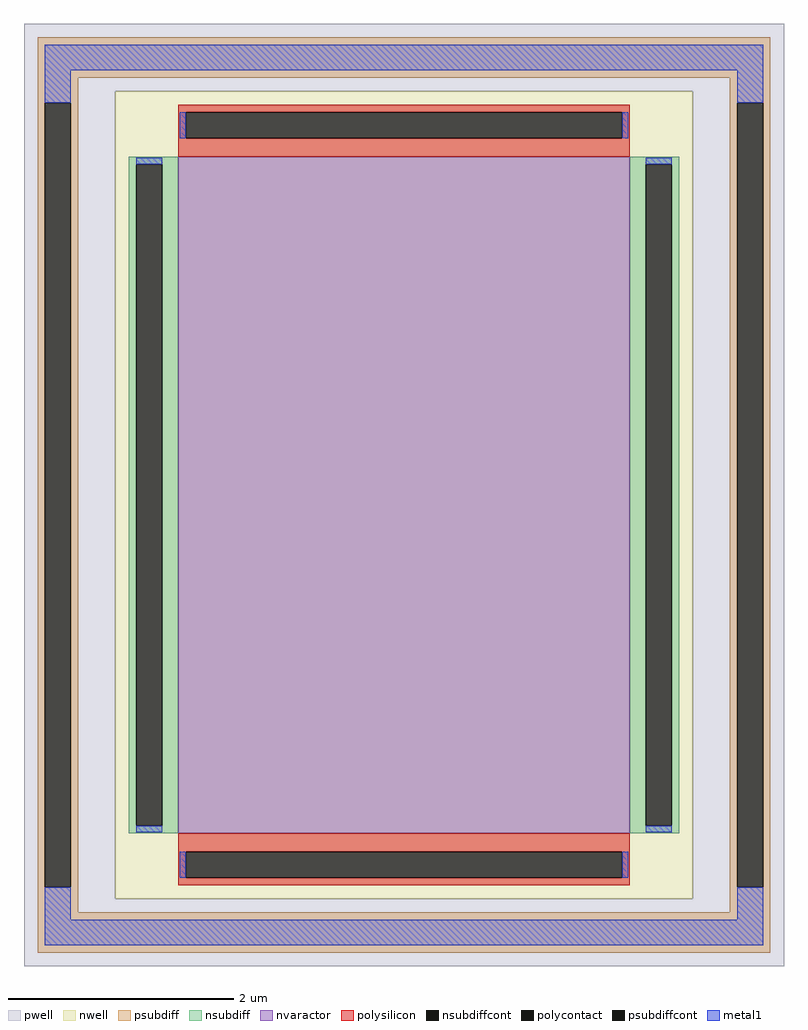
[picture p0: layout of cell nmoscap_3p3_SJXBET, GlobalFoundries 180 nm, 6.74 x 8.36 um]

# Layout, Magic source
magic
tech gf180mcuD
magscale 1 10
<< nwell >>
rect -512 -716 512 716
<< pwell >>
rect -674 716 674 836
rect -674 -716 -512 716
rect 512 -716 674 716
rect -674 -836 674 -716
<< psubdiff >>
rect -650 740 650 812
rect -650 696 -578 740
rect -650 -696 -637 696
rect -591 -696 -578 696
rect 578 696 650 740
rect -650 -740 -578 -696
rect 578 -696 591 696
rect 637 -696 650 696
rect 578 -740 650 -696
rect -650 -812 650 -740
<< nsubdiff >>
rect -488 587 -400 600
rect -488 -587 -475 587
rect -429 -587 -400 587
rect -488 -600 -400 -587
rect 400 587 488 600
rect 400 -587 429 587
rect 475 -587 488 587
rect 400 -600 488 -587
<< psubdiffcont >>
rect -637 -696 -591 696
rect 591 -696 637 696
<< nsubdiffcont >>
rect -475 -587 -429 587
rect 429 -587 475 587
<< nvaractor >>
rect -400 -600 400 600
<< polysilicon >>
rect -400 679 400 692
rect -400 633 -387 679
rect 387 633 400 679
rect -400 600 400 633
rect -400 -633 400 -600
rect -400 -679 -387 -633
rect 387 -679 400 -633
rect -400 -692 400 -679
<< polycontact >>
rect -387 633 387 679
rect -387 -679 387 -633
<< metal1 >>
rect -637 753 637 799
rect -637 696 -591 753
rect 591 696 637 753
rect -398 633 -387 679
rect 387 633 398 679
rect -475 587 -429 598
rect -475 -598 -429 -587
rect 429 587 475 598
rect 429 -598 475 -587
rect -398 -679 -387 -633
rect 387 -679 398 -633
rect -637 -753 -591 -696
rect 591 -753 637 -696
rect -637 -799 637 -753
<< properties >>
string FIXED_BBOX -614 -776 614 776
string gencell nmoscap_3p3
string library gf180mcu
string parameters w 6.0 l 4.0 m 1 nf 1 diffcov 100 polycov 100 guard 1 glc 1 grc 1 gtc 0 gbc 0 tbcov 100 rlcov 100 topc 1 botc 1 poverlap 0 doverlap 1 lmin 0.28 wmin 0.22 class mosfet full_metal 1 compatible {nmoscap_3p3 nmoscap_6p0}
<< end >>
